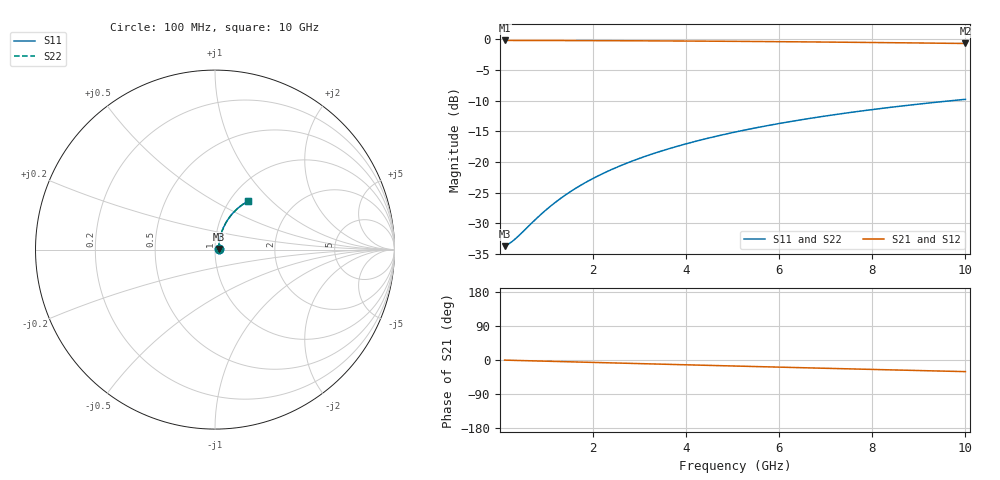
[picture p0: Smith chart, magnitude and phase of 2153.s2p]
# Hz S RI R 50.00
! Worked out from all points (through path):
!   100 points, 100 MHz to 10 GHz, reference 50 ohm
!   highest |S21| = -0.18 dB at 100 MHz (marker M1); lowest = -0.7 dB at 10 GHz (marker M2)
!   group delay of S21, straight-line fit = 8.54 ps
!   lowest |S11| = -33.7 dB at 100 MHz (marker M3), VSWR 1.04, Z = 52.1 + j0.356 ohm
!   |S11| at or under -10 dB: start of sweep to 9.699 GHz
!   |S22| runs from -33.7 to -9.8 dB; largest |S21 - S12| = 0
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1e8  0.0203 0.00342  0.9797 -0.00545  0.9797 -0.00545  0.0203 0.00342
2e8  0.0205 0.00684  0.9795 -0.0109  0.9795 -0.0109  0.0205 0.00684
3e8  0.0207 0.0103  0.9793 -0.0163  0.9793 -0.0163  0.0207 0.0103
4e8  0.0209 0.0137  0.9791 -0.0218  0.9791 -0.0218  0.0209 0.0137
8e8  0.022 0.0273  0.9778 -0.0435  0.9778 -0.0435  0.022 0.0273
1.1e9  0.0232 0.0374  0.9765 -0.0597  0.9765 -0.0597  0.0232 0.0374
1.4e9  0.0248 0.0476  0.9748 -0.0759  0.9748 -0.0759  0.0248 0.0476
1.6e9  0.026 0.0543  0.9735 -0.0867  0.9735 -0.0867  0.026 0.0543
1.8e9  0.0273 0.0609  0.972 -0.0974  0.972 -0.0974  0.0273 0.0609
2.1e9  0.0296 0.0709  0.9695 -0.1134  0.9695 -0.1134  0.0296 0.0709
2.5e9  0.0331 0.084  0.9656 -0.1347  0.9656 -0.1347  0.0331 0.084
2.9e9  0.0372 0.0969  0.961 -0.1557  0.961 -0.1557  0.0372 0.0969
3.4e9  0.043 0.1127  0.9545 -0.1816  0.9545 -0.1816  0.043 0.1127
3.8e9  0.0483 0.125  0.9486 -0.2021  0.9486 -0.2021  0.0483 0.125
4.2e9  0.0542 0.1371  0.9421 -0.2223  0.9421 -0.2223  0.0542 0.1371
4.6e9  0.0605 0.1488  0.9351 -0.2422  0.9351 -0.2422  0.0605 0.1488
5.1e9  0.069 0.163  0.9255 -0.2666  0.9255 -0.2666  0.069 0.163
5.9e9  0.0841 0.1846  0.9085 -0.3045  0.9085 -0.3045  0.0841 0.1846
6.7e9  0.1008 0.2046  0.8897 -0.3408  0.8897 -0.3408  0.1008 0.2046
7.5e9  0.119 0.2229  0.8691 -0.3755  0.8691 -0.3755  0.119 0.2229
8.4e9  0.1408 0.2413  0.8442 -0.4124  0.8442 -0.4124  0.1408 0.2413
1e10  0.1826 0.2682  0.796 -0.4723  0.796 -0.4723  0.1826 0.2682
